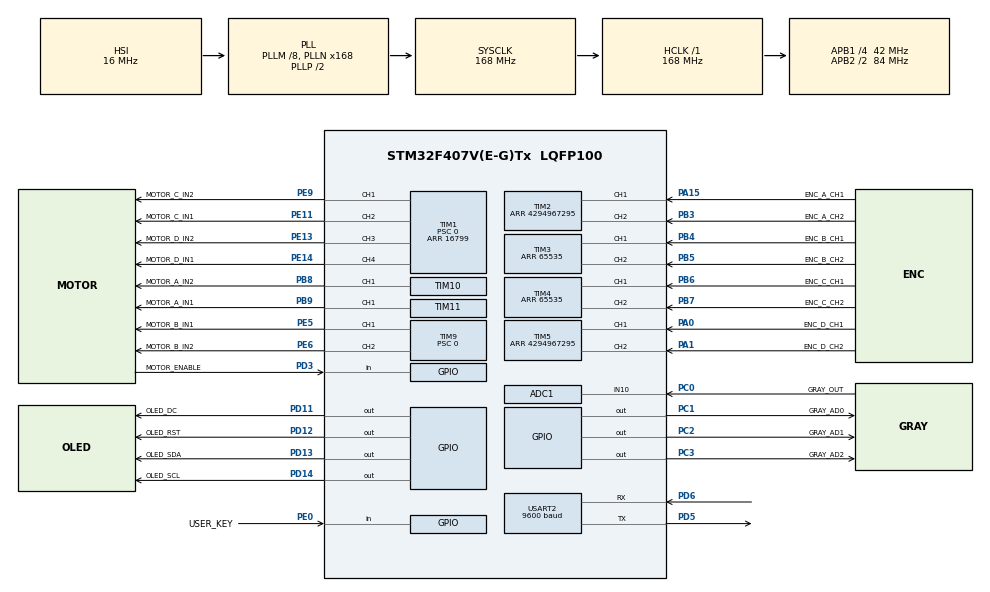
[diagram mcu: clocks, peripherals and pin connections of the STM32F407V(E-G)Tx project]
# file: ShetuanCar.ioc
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ADC1.Channel-0\#ChannelRegularConversion=ADC_CHANNEL_10
ADC1.ClockPrescaler=ADC_CLOCK_SYNC_PCLK_DIV4
ADC1.EnableAnalogWatchDog=false
ADC1.NbrOfConversionFlag=1
ADC1.Rank-0\#ChannelRegularConversion=1
ADC1.SamplingTime-0\#ChannelRegularConversion=ADC_SAMPLETIME_84CYCLES
ADC1.master=1
Mcu.Family=STM32F4
Mcu.Name=STM32F407V(E-G)Tx
Mcu.Package=LQFP100
NVIC.PriorityGroup=NVIC_PRIORITYGROUP_4
NVIC.TIM6_DAC_IRQn=true\:1\:0\:false\:false\:true\:true\:true\:true
NVIC.USART2_IRQn=true\:2\:0\:false\:false\:true\:true\:true\:true
PA15.GPIO_Label=ENC_A_CH1
PA15.GPIO_PuPd=GPIO_PULLUP
PA15.Signal=S_TIM2_CH1_ETR
PB3.GPIO_Label=ENC_A_CH2
PB3.GPIO_PuPd=GPIO_PULLUP
PB3.Signal=S_TIM2_CH2
PB4.GPIO_Label=ENC_B_CH1
PB4.GPIO_PuPd=GPIO_PULLUP
PB4.Signal=S_TIM3_CH1
PB5.GPIO_Label=ENC_B_CH2
PB5.GPIO_PuPd=GPIO_PULLUP
PB5.Signal=S_TIM3_CH2
PB6.GPIO_Label=ENC_C_CH1
PB6.GPIO_PuPd=GPIO_PULLUP
PB6.Signal=S_TIM4_CH1
PB7.GPIO_Label=ENC_C_CH2
PB7.GPIO_PuPd=GPIO_PULLUP
PB7.Signal=S_TIM4_CH2
PA0-WKUP.GPIO_Label=ENC_D_CH1
PA0-WKUP.GPIO_PuPd=GPIO_PULLUP
PA0-WKUP.Signal=S_TIM5_CH1
PA1.GPIO_Label=ENC_D_CH2
PA1.GPIO_PuPd=GPIO_PULLUP
PA1.Signal=S_TIM5_CH2
PA13.Mode=Serial_Wire
PA13.Signal=SYS_JTMS-SWDIO
PA14.Mode=Serial_Wire
PA14.Signal=SYS_JTCK-SWCLK
PC0.GPIO_Label=GRAY_OUT
PC0.GPIO_Mode=GPIO_MODE_ANALOG
PC0.GPIO_PuPd=GPIO_NOPULL
PC0.Signal=ADCx_IN10
PC1.GPIO_Label=GRAY_AD0
PC1.GPIO_ModeDefaultOutputPP=GPIO_MODE_OUTPUT_PP
PC1.GPIO_PuPd=GPIO_NOPULL
PC1.PinState=GPIO_PIN_SET
PC1.Signal=GPIO_Output
PC2.GPIO_Label=GRAY_AD1
PC2.GPIO_ModeDefaultOutputPP=GPIO_MODE_OUTPUT_PP
PC2.GPIO_PuPd=GPIO_NOPULL
PC2.PinState=GPIO_PIN_SET
PC2.Signal=GPIO_Output
PC3.GPIO_Label=GRAY_AD2
PC3.GPIO_ModeDefaultOutputPP=GPIO_MODE_OUTPUT_PP
PC3.GPIO_PuPd=GPIO_NOPULL
PC3.PinState=GPIO_PIN_SET
PC3.Signal=GPIO_Output
PD5.GPIO_ModeDefaultPP=GPIO_MODE_AF_PP
PD5.GPIO_PuPd=GPIO_PULLUP
PD5.GPIO_Speed=GPIO_SPEED_FREQ_MEDIUM
PD5.Mode=Asynchronous
PD5.Signal=USART2_TX
PD6.GPIO_PuPd=GPIO_PULLUP
PD6.GPIO_Speed=GPIO_SPEED_FREQ_MEDIUM
PD6.Mode=Asynchronous
PD6.Signal=USART2_RX
PD11.GPIO_Label=OLED_DC
PD11.GPIO_ModeDefaultOutputPP=GPIO_MODE_OUTPUT_PP
PD11.GPIO_PuPd=GPIO_NOPULL
PD11.PinState=GPIO_PIN_SET
PD11.Signal=GPIO_Output
PD12.GPIO_Label=OLED_RST
PD12.GPIO_ModeDefaultOutputPP=GPIO_MODE_OUTPUT_PP
PD12.GPIO_PuPd=GPIO_NOPULL
PD12.PinState=GPIO_PIN_SET
PD12.Signal=GPIO_Output
PD13.GPIO_Label=OLED_SDA
PD13.GPIO_ModeDefaultOutputPP=GPIO_MODE_OUTPUT_PP
PD13.GPIO_PuPd=GPIO_NOPULL
PD13.PinState=GPIO_PIN_RESET
PD13.Signal=GPIO_Output
PD14.GPIO_Label=OLED_SCL
PD14.GPIO_ModeDefaultOutputPP=GPIO_MODE_OUTPUT_PP
PD14.GPIO_PuPd=GPIO_NOPULL
PD14.PinState=GPIO_PIN_RESET
PD14.Signal=GPIO_Output
PD3.GPIO_Label=MOTOR_ENABLE
PD3.GPIO_PuPd=GPIO_PULLUP
PD3.Signal=GPIO_Input
PE0.GPIO_Label=USER_KEY
PE0.GPIO_PuPd=GPIO_PULLUP
PE0.Signal=GPIO_Input
PB8.GPIO_Label=MOTOR_A_IN2
PB8.GPIO_PuPd=GPIO_PULLDOWN
PB8.GPIO_ModeDefaultPP=GPIO_MODE_AF_PP
PB8.GPIO_Speed=GPIO_SPEED_FREQ_LOW
PB8.Signal=S_TIM10_CH1
PB9.GPIO_Label=MOTOR_A_IN1
PB9.GPIO_PuPd=GPIO_PULLDOWN
PB9.GPIO_ModeDefaultPP=GPIO_MODE_AF_PP
PB9.GPIO_Speed=GPIO_SPEED_FREQ_LOW
PB9.Signal=S_TIM11_CH1
PE5.GPIO_Label=MOTOR_B_IN1
PE5.GPIO_PuPd=GPIO_PULLDOWN
PE5.GPIO_ModeDefaultPP=GPIO_MODE_AF_PP
PE5.GPIO_Speed=GPIO_SPEED_FREQ_LOW
PE5.Signal=S_TIM9_CH1
PE6.GPIO_Label=MOTOR_B_IN2
PE6.GPIO_PuPd=GPIO_PULLDOWN
PE6.GPIO_ModeDefaultPP=GPIO_MODE_AF_PP
PE6.GPIO_Speed=GPIO_SPEED_FREQ_LOW
PE6.Signal=S_TIM9_CH2
PE9.GPIO_Label=MOTOR_C_IN2
PE9.GPIO_PuPd=GPIO_PULLDOWN
PE9.GPIO_ModeDefaultPP=GPIO_MODE_AF_PP
PE9.GPIO_Speed=GPIO_SPEED_FREQ_LOW
PE9.Signal=S_TIM1_CH1
PE11.GPIO_Label=MOTOR_C_IN1
PE11.GPIO_PuPd=GPIO_PULLDOWN
PE11.GPIO_ModeDefaultPP=GPIO_MODE_AF_PP
PE11.GPIO_Speed=GPIO_SPEED_FREQ_LOW
PE11.Signal=S_TIM1_CH2
PE13.GPIO_Label=MOTOR_D_IN2
PE13.GPIO_PuPd=GPIO_PULLDOWN
PE13.GPIO_ModeDefaultPP=GPIO_MODE_AF_PP
PE13.GPIO_Speed=GPIO_SPEED_FREQ_LOW
PE13.Signal=S_TIM1_CH3
PE14.GPIO_Label=MOTOR_D_IN1
PE14.GPIO_PuPd=GPIO_PULLDOWN
PE14.GPIO_ModeDefaultPP=GPIO_MODE_AF_PP
PE14.GPIO_Speed=GPIO_SPEED_FREQ_LOW
PE14.Signal=S_TIM1_CH4
PH0-OSC_IN.Mode=HSE-External-Oscillator
PH0-OSC_IN.Signal=RCC_OSC_IN
PH1-OSC_OUT.Mode=HSE-External-Oscillator
PH1-OSC_OUT.Signal=RCC_OSC_OUT
ProjectManager.HeapSize=0x200
ProjectManager.StackSize=0x400
ProjectManager.TargetToolchain=MDK-ARM V5.32
RCC.48MHZClocksFreq_Value=84000000
RCC.AHBFreq_Value=168000000
RCC.APB1CLKDivider=RCC_HCLK_DIV4
RCC.APB1Freq_Value=42000000
RCC.APB1TimFreq_Value=84000000
RCC.APB2CLKDivider=RCC_HCLK_DIV2
RCC.APB2Freq_Value=84000000
RCC.APB2TimFreq_Value=168000000
RCC.CortexFreq_Value=168000000
RCC.HCLKFreq_Value=168000000
RCC.HSE_VALUE=25000000
RCC.HSI_VALUE=16000000
RCC.LSE_VALUE=32768
RCC.PLLM=8
RCC.PLLN=168
RCC.SYSCLKFreq_VALUE=168000000
RCC.SYSCLKSource=RCC_SYSCLKSOURCE_PLLCLK
RCC.VCOOutputFreq_Value=336000000
SH.S_TIM1_CH1.0=TIM1_CH1,PWM Generation1 CH1
SH.S_TIM1_CH2.0=TIM1_CH2,PWM Generation2 CH2
SH.S_TIM1_CH3.0=TIM1_CH3,PWM Generation3 CH3
SH.S_TIM1_CH4.0=TIM1_CH4,PWM Generation4 CH4
SH.S_TIM9_CH1.0=TIM9_CH1,PWM Generation1 CH1
SH.S_TIM9_CH2.0=TIM9_CH2,PWM Generation2 CH2
SH.S_TIM10_CH1.0=TIM10_CH1,PWM Generation1 CH1
SH.S_TIM11_CH1.0=TIM11_CH1,PWM Generation1 CH1
SH.S_TIM2_CH1_ETR.0=TIM2_CH1,Encoder_Interface
SH.S_TIM2_CH2.0=TIM2_CH2,Encoder_Interface
SH.S_TIM3_CH1.0=TIM3_CH1,Encoder_Interface
SH.S_TIM3_CH2.0=TIM3_CH2,Encoder_Interface
SH.S_TIM4_CH1.0=TIM4_CH1,Encoder_Interface
SH.S_TIM4_CH2.0=TIM4_CH2,Encoder_Interface
SH.S_TIM5_CH1.0=TIM5_CH1,Encoder_Interface
SH.S_TIM5_CH2.0=TIM5_CH2,Encoder_Interface
TIM1.Channel-PWM\ Generation1\ CH1=TIM_CHANNEL_1
TIM1.Channel-PWM\ Generation2\ CH2=TIM_CHANNEL_2
TIM1.Channel-PWM\ Generation3\ CH3=TIM_CHANNEL_3
TIM1.Channel-PWM\ Generation4\ CH4=TIM_CHANNEL_4
TIM1.Prescaler=0
TIM1.Period=16799
TIM1.AutoReloadPreload=TIM_AUTORELOAD_PRELOAD_ENABLE
TIM9.Channel-PWM\ Generation1\ CH1=TIM_CHANNEL_1
TIM9.Channel-PWM\ Generation2\ CH2=TIM_CHANNEL_2
TIM9.Prescaler=0
TIM9.Period=16799
TIM9.AutoReloadPreload=TIM_AUTORELOAD_PRELOAD_ENABLE
TIM10.Channel=TIM_CHANNEL_1
TIM10.Prescaler=0
TIM10.Period=16799
TIM10.AutoReloadPreload=TIM_AUTORELOAD_PRELOAD_ENABLE
TIM11.Channel=TIM_CHANNEL_1
TIM11.Prescaler=0
TIM11.Period=16799
TIM11.AutoReloadPreload=TIM_AUTORELOAD_PRELOAD_ENABLE
TIM2.EncoderMode=TIM_ENCODERMODE_TI12
TIM2.IC1Polarity=TIM_ICPOLARITY_RISING
TIM2.IC2Polarity=TIM_ICPOLARITY_RISING
TIM2.IC1Filter=15
TIM2.IC2Filter=15
TIM2.Period=4294967295
TIM3.EncoderMode=TIM_ENCODERMODE_TI12
TIM3.IC1Polarity=TIM_ICPOLARITY_RISING
TIM3.IC2Polarity=TIM_ICPOLARITY_RISING
TIM3.IC1Filter=15
TIM3.IC2Filter=15
TIM3.Period=65535
TIM4.EncoderMode=TIM_ENCODERMODE_TI12
TIM4.IC1Polarity=TIM_ICPOLARITY_RISING
TIM4.IC2Polarity=TIM_ICPOLARITY_RISING
TIM4.IC1Filter=15
TIM4.IC2Filter=15
TIM4.Period=65535
TIM5.EncoderMode=TIM_ENCODERMODE_TI12
TIM5.IC1Polarity=TIM_ICPOLARITY_RISING
TIM5.IC2Polarity=TIM_ICPOLARITY_RISING
TIM5.IC1Filter=15
TIM5.IC2Filter=15
TIM5.Period=4294967295
SH.ADCx_IN10.0=ADC1_IN10,IN10
USART2.BaudRate=9600
USART2.VirtualMode=VM_ASYNC
VP_TIM10_VS_ClockSourceINT.Mode=Enable_Timer
VP_TIM11_VS_ClockSourceINT.Mode=Enable_Timer
TIM6.Prescaler=83
TIM6.Period=9999
VP_TIM6_VS_ClockSourceINT.Mode=Enable_Timer
board=custom

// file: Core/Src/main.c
/* USER CODE BEGIN Header */
/**
  ******************************************************************************
  * @file           : main.c
  * @brief          : Main program body
  ******************************************************************************
  * @attention
  *
  * Copyright (c) 2026 STMicroelectronics.
  * All rights reserved.
  *
  * This software is licensed under terms that can be found in the LICENSE file
  * in the root directory of this software component.
  * If no LICENSE file comes with this software, it is provided AS-IS.
  *
  ******************************************************************************
  */
/* USER CODE END Header */
#include "main.h"
#include "adc.h"
#include "tim.h"
#include "usart.h"
#include "gpio.h"
//shit
/* USER CODE BEGIN Includes */
#include "OLED.h"
#include "encoder_calibration.h"
#include "motor_calibration.h"
#include "motor_drive.h"
#include "chassis_test.h"
#include "speed_test.h"
#include "line_track.h"
/* USER CODE END Includes */
//imking

/* USER CODE BEGIN PD */
// 0 手拨编码器，1 单轮方向，2 整车动作，3 五档速度环，4 灰度循迹。
#ifndef SHETUANCAR_MOTOR_CAL_TEST
#define SHETUANCAR_MOTOR_CAL_TEST 4
#endif
/* USER CODE END PD */

void SystemClock_Config(void);

int main(void)
{

  /* MCU Configuration--------------------------------------------------------*/

  /* Reset of all peripherals, Initializes the Flash interface and the Systick. */
  HAL_Init();

  /* Configure the system clock */
  SystemClock_Config();

  /* Initialize all configured peripherals */
  MX_GPIO_Init();
  MX_TIM1_Init();
  MX_TIM2_Init();
  MX_TIM3_Init();
  MX_TIM4_Init();
  MX_TIM5_Init();
  MX_TIM9_Init();
  MX_TIM10_Init();
  MX_TIM11_Init();
  MX_TIM6_Init();
  MX_ADC1_Init();
  MX_USART2_UART_Init();
  /* USER CODE BEGIN 2 */
  OLED_Init();
#if SHETUANCAR_MOTOR_CAL_TEST==4
  // 循迹在上电后待机，首次 USER 按下才允许速度环输出。
  LineTrack_Init();
#elif SHETUANCAR_MOTOR_CAL_TEST==3
  // 五档速度环测试在 USER 松开后只驱动选中的一轮。
  SpeedTest_Init();
#elif SHETUANCAR_MOTOR_CAL_TEST==2
  // 整车测试从零输出开始，等待使能和 USER 松开后才安排短跑。
  ChassisTest_Init();
#elif SHETUANCAR_MOTOR_CAL_TEST==1
  // 单轮方向复测同样从零输出开始，使用原始电气方向试转。
  MotorCal_Init();
#else
  // 手拨版本只启动编码器。PWM 定时器初始化为零占空比，各输出通道保持关闭。
  EncoderCal_Init();
#endif
  /* USER CODE END 2 */

  /* Infinite loop */
  while (1)
  {

    /* USER CODE BEGIN 3 */
#if SHETUANCAR_MOTOR_CAL_TEST==4
    LineTrack_Task();
#elif SHETUANCAR_MOTOR_CAL_TEST==3
    SpeedTest_Task();
#elif SHETUANCAR_MOTOR_CAL_TEST==2
    ChassisTest_Task();
#elif SHETUANCAR_MOTOR_CAL_TEST==1
    MotorCal_Task();
#else
    // USER 只选择并清零显示基准，主循环持续读取选中轮的原始计数。
    EncoderCal_Task();
#endif
  }
  /* USER CODE END 3 */
}

void SystemClock_Config(void)
{
  RCC_OscInitTypeDef RCC_OscInitStruct = {0};
  RCC_ClkInitTypeDef RCC_ClkInitStruct = {0};

  /** Configure the main internal regulator output voltage
  */
  __HAL_RCC_PWR_CLK_ENABLE();
  __HAL_PWR_VOLTAGESCALING_CONFIG(PWR_REGULATOR_VOLTAGE_SCALE1);

  /** Initializes the RCC Oscillators according to the specified parameters
  * in the RCC_OscInitTypeDef structure.
  */
  RCC_OscInitStruct.OscillatorType = RCC_OSCILLATORTYPE_HSI;
  RCC_OscInitStruct.HSIState = RCC_HSI_ON;
  RCC_OscInitStruct.HSICalibrationValue = RCC_HSICALIBRATION_DEFAULT;
  RCC_OscInitStruct.PLL.PLLState = RCC_PLL_ON;
  RCC_OscInitStruct.PLL.PLLSource = RCC_PLLSOURCE_HSI;
  RCC_OscInitStruct.PLL.PLLM = 8;
  RCC_OscInitStruct.PLL.PLLN = 168;
  RCC_OscInitStruct.PLL.PLLP = RCC_PLLP_DIV2;
  RCC_OscInitStruct.PLL.PLLQ = 4;
  if (HAL_RCC_OscConfig(&RCC_OscInitStruct) != HAL_OK)
  {
    Error_Handler();
  }

  /** Initializes the CPU, AHB and APB buses clocks
  */
  RCC_ClkInitStruct.ClockType = RCC_CLOCKTYPE_HCLK|RCC_CLOCKTYPE_SYSCLK
                              |RCC_CLOCKTYPE_PCLK1|RCC_CLOCKTYPE_PCLK2;
  RCC_ClkInitStruct.SYSCLKSource = RCC_SYSCLKSOURCE_PLLCLK;
  RCC_ClkInitStruct.AHBCLKDivider = RCC_SYSCLK_DIV1;
  RCC_ClkInitStruct.APB1CLKDivider = RCC_HCLK_DIV4;
  RCC_ClkInitStruct.APB2CLKDivider = RCC_HCLK_DIV2;

  if (HAL_RCC_ClockConfig(&RCC_ClkInitStruct, FLASH_LATENCY_5) != HAL_OK)
  {
    Error_Handler();
  }
}

/* USER CODE BEGIN 4 */
#if SHETUANCAR_MOTOR_CAL_TEST==3||SHETUANCAR_MOTOR_CAL_TEST==4
/**
 * @brief  分派 TIM6 的固定 10 ms 更新事件给当前速度环应用。
 * @param  htim 产生本次更新事件的定时器句柄。
 */
void HAL_TIM_PeriodElapsedCallback(TIM_HandleTypeDef *htim)
{
  if(htim->Instance!=TIM6)  return;
#if SHETUANCAR_MOTOR_CAL_TEST==4
  LineTrack_ControlTick();
#else
  SpeedTest_ControlTick();
#endif
}
#endif
/* USER CODE END 4 */

void Error_Handler(void)
{
  /* USER CODE BEGIN Error_Handler_Debug */
  // 先禁止 TIM6 等中断重新写入 PWM，再撤去驱动并进入错误循环。
  __disable_irq();
  MotorDrive_StopOutputs();
  while (1)
  {
  }
  /* USER CODE END Error_Handler_Debug */
}
